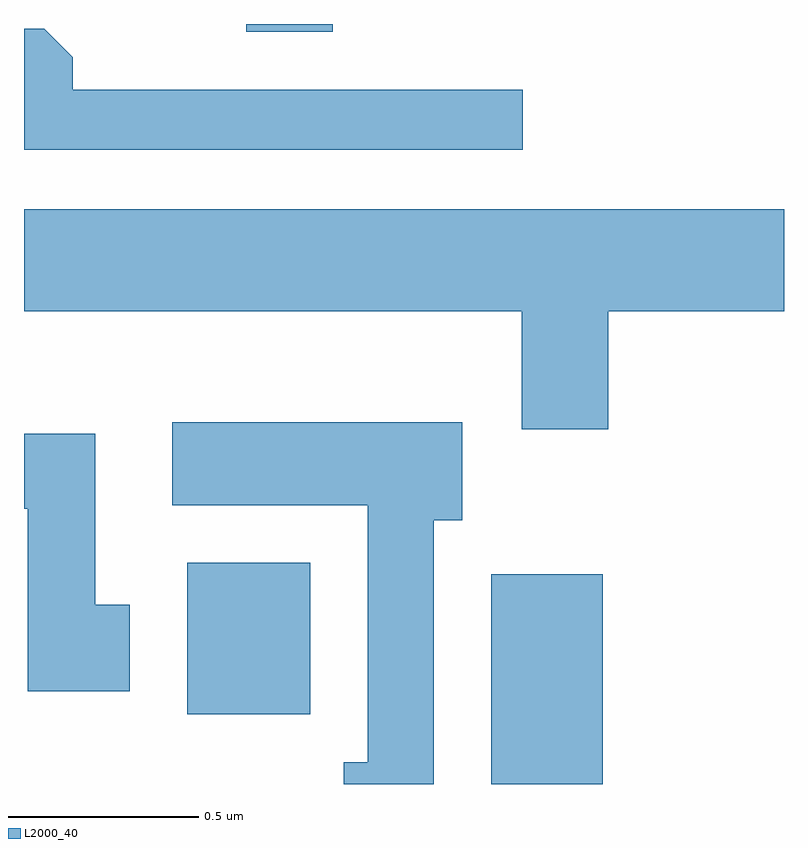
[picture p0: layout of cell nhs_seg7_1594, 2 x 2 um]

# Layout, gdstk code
import gdstk
lib = gdstk.Library(unit=1e-6, precision=1e-09)
def R(c, l, rs):  # rectangles x0, y0, x1, y1
    for r in rs: c.add(gdstk.rectangle(r[:2], r[2:], *l))
def P(c, l, *ps):  # polygons
    for p in ps: c.add(gdstk.Polygon(p, *l))
L2000_40 = (2000, 40)

nhs_seg7_1594 = lib.new_cell('nhs_seg7_1594')
R(nhs_seg7_1594, L2000_40, [(197.841,1755.252,198.134,1755.804), (197.041,1755.436,197.364,1755.834), (197.196,1757.231,197.424,1757.252)])
P(nhs_seg7_1594, L2000_40, [(197.923,1757.079),(196.739,1757.079),(196.739,1757.164),(196.664,1757.239),(196.611,1757.239),(196.611,1756.921),(197.923,1756.921)],
  [(198.149,1756.496),(198.611,1756.496),(198.611,1756.764),(196.611,1756.764),(196.611,1756.496),(197.921,1756.496),(197.921,1756.186),(198.149,1756.186)],
  [(197.689,1755.946),(197.764,1755.946),(197.764,1756.204),(197.001,1756.204),(197.001,1755.986),(197.516,1755.986),(197.516,1755.309),(197.453,1755.309),(197.453,1755.252),(197.689,1755.252)],
  [(196.889,1755.724),(196.799,1755.724),(196.799,1756.174),(196.611,1756.174),(196.611,1755.976),(196.621,1755.976),(196.621,1755.496),(196.889,1755.496)])

lib.write_gds('nhs_seg7_1594.gds')
